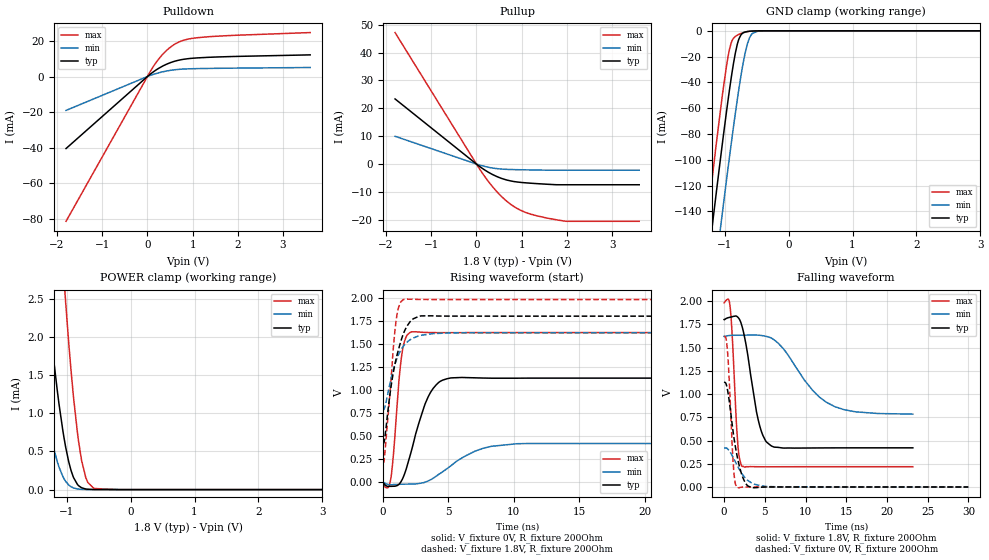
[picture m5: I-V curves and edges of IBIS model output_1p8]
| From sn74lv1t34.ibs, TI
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|   output_1p8 Model
[Model]   output_1p8
Model_type   3-state
Polarity   Non-Inverting
Vmeas = 0.9
Vref = 0
Cref = 50pF
Rref = 500
|   typ   min   max
|   (nom PVT)   (fast PVT)   (slow PVT)
C_comp   3.377e-12   3.329e-12   3.504e-12
| Where nom  PVT is Nominal Process, 1.8V, 40C
|   Fast PVT is Strong Process,  1.98V, -40C
|   Slow PVT is Weak Process,   1.62V, 140C
[Voltage Range]   1.8   1.62   1.98
|Junction Temperature
[Temperature Range]   40   140   -40
[Pullup Reference]   1.8   1.62   1.98
[Pulldown Reference]   0   0   0
[Power Clamp Reference]   1.8   1.62   1.98
[GND Clamp Reference]   0   0   0
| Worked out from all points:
|   slope of the pulldown table from 0 to 0.27 V, typ, clamps not added: 54.9 ohm
|   slope of the pullup table from 0 to 0.27 V, typ, clamps not added: 90.1 ohm
|   GND clamp passes 1 mA (typ) near -0.68 V on its own axis
|   POWER clamp passes 1 mA (typ) near -1.10 V on its own axis
|   falling waveform, V_fixture 1.8V, R_fixture 200Ohm: 20-80 % time 1.55ns typ, 4.37ns min, 600ps max; typ from 1.8 V to 0.421 V
|   rising waveform, V_fixture 0V, R_fixture 200Ohm: 20-80 % time 1.44ns typ, 2.78ns min, 548ps max; typ from 0 V to 1.13 V
|   rising waveform, V_fixture 1.8V, R_fixture 200Ohm: 20-80 % time 1.04ns typ, 1.09ns min, 607ps max; typ from 0.421 V to 1.8 V
|   falling waveform, V_fixture 0V, R_fixture 200Ohm: 20-80 % time 1.21ns typ, 1.74ns min, 528ps max; typ from 1.13 V to 0 V
[Pulldown]
|   Voltage   I(typ)   I(min)   I(max)
-1.8V     -40.48mA   -19.05mA   -81.4mA
77.04mV   1.601mA    726.7uA    3.446mA
207.2mV   3.948mA    1.788mA    8.44mA
328.5mV   5.753mA    2.594mA    12.24mA
522.5mV   7.928mA    3.533mA    16.78mA
756.4mV   9.508mA    4.146mA    20.03mA
1.115V    10.49mA    4.456mA    21.85mA
1.978V    11.31mA    4.734mA    23.22mA
3.6V      12.18mA    5.071mA    24.72mA
[GND Clamp]
|   Voltage   I(typ)   I(min)   I(max)
-1.8V     -411.1mA   -461mA     -378.3mA
-1.38V    -229.8mA   -282.7mA   -193.5mA
-1.174V   -143.3mA   -197.2mA   -105.6mA
-1.073V   -102.3mA   -156.2mA   -64.6mA
-1.03V    -85.02mA   -138.7mA   -47.8mA
-923.6mV  -45.44mA   -97.44mA   -14.13mA
-802.8mV  -10.54mA   -53.56mA   -3.404mA
-745.4mV  -3.193mA   -34.97mA   -2.072mA
-644.4mV  -535.4uA   -10.12mA   -621.8uA
-576.4mV  -190.2uA   -2.507mA   -202.9uA
-479.7mV  -35.9uA    -222.1uA   -28.71uA
3.6V      0A         0A         0A
[Pullup]
|   Voltage   I(typ)   I(min)   I(max)
-1.8V     23.36mA    9.956mA    47.18mA
84.06mV   -1.035mA   -426.9uA   -2.129mA
360mV     -3.793mA   -1.437mA   -8.209mA
536mV     -5.043mA   -1.782mA   -11.35mA
684.9mV   -5.796mA   -1.927mA   -13.54mA
898.9mV   -6.441mA   -2.026mA   -15.94mA
1.115V    -6.78mA    -2.094mA   -17.53mA
1.534V    -7.226mA   -2.203mA   -19.3mA
1.978V    -7.437mA   -2.211mA   -20.54mA
3.6V      -7.437mA   -2.211mA   -20.55mA
[POWER Clamp]
|   Voltage   I(typ)   I(min)   I(max)
-1.8V     8.096mA    3.947mA    16.99mA
-1.593V   5.495mA    2.516mA    12.33mA
-1.3V     2.489mA    921.6uA    6.636mA
-1.149V   1.315mA    373.2uA    4.214mA
-1.042V   683.3uA    143.7uA    2.771mA
-1.014V   553.7uA    106.7uA    2.443mA
-930.6mV  250.1uA    37.72uA    1.558mA
-829.8mV  66.64uA    9.003uA    739.4uA
-766.4mV  24.19uA    3.51uA     385.6uA
-669.6mV  4.581uA    813.4nA    95.36uA
-572.4mV  820.3nA    189.2nA    14.58uA
3.6V      0A         0A         0A
[Ramp]
R_load = 200
|   typ   min   max
dV/dt_r   0.675578/1.42944e-09   0.249793/2.73611e-09   0.973063/5.47846e-10
dV/dt_f   0.827407/1.55205e-09   0.502334/4.34695e-09   1.05721/5.9837e-10
[Falling Waveform]
V_fixture = 1.8V
V_fixture_min = 1.62V
V_fixture_max = 1.98V
R_fixture = 200Ohm
|   Time   V(typ)   V(min)   V(max)
0s        1.8V       1.62V      1.98V
525ps     1.821V     1.628V     2.02V
750ps     1.826V     1.63V      1.931V
975ps     1.83V      1.631V     1.664V
1.675ns   1.827V     1.632V     472.6mV
2.2ns     1.73V      1.632V     222.9mV
4.225ns   709.7mV    1.633V     217.8mV
5.725ns   446.8mV    1.605V     217.4mV
12.52ns   420.4mV    913.4mV    218mV
23.18ns   421mV      783.7mV    218mV
[Rising Waveform]
V_fixture = 0V
V_fixture_min = 0V
V_fixture_max = 0V
R_fixture = 200Ohm
|   Time   V(typ)   V(min)   V(max)
0s        515.3pV    10.2nV     586.9pV
575ps     -43.07mV   -25.94mV   15.01mV
800ps     -42.13mV   -23.86mV   289.3mV
1.225ns   -22.49mV   -21.24mV   1.095V
1.45ns    23.6mV     -20.22mV   1.385V
2.15ns    325.7mV    -18.42mV   1.628V
3.5ns     937.7mV    17.85mV    1.623V
5.175ns   1.131V     177.6mV    1.621V
10.25ns   1.128V     418.5mV    1.622V
29.98ns   1.129V     420.3mV    1.622V
[Rising Waveform]
V_fixture = 1.8V
V_fixture_min = 1.62V
V_fixture_max = 1.98V
R_fixture = 200Ohm
|   Time   V(typ)   V(min)   V(max)
0s        421mV      782.8mV    218mV
125ps     455.6mV    803mV      271.2mV
600ps     1.012V     1.109V     1.067V
800ps     1.19V      1.222V     1.454V
1ns       1.33V      1.312V     1.738V
1.275ns   1.479V     1.406V     1.925V
1.55ns    1.602V     1.471V     1.977V
2.2ns     1.758V     1.555V     1.983V
2.925ns   1.803V     1.593V     1.98V
29.98ns   1.8V       1.62V      1.98V
[Falling Waveform]
V_fixture = 0V
V_fixture_min = 0V
V_fixture_max = 0V
R_fixture = 200Ohm
|   Time   V(typ)   V(min)   V(max)
0s        1.129V     420.3mV    1.622V
225ps     1.113V     420.3mV    1.601V
400ps     1.054V     412.7mV    1.485V
600ps     946.2mV    393.9mV    1.208V
1.15ns    568.7mV    311.2mV    220.8mV
1.35ns    453.6mV    277.4mV    50.95mV
1.625ns   322.7mV    230mV      -8.454mV
2.525ns   59.38mV    104.4mV    745.9uV
3.55ns    -7.131mV   36.18mV    112.4uV
29.98ns   514pV      10.16nV    587.5pV
